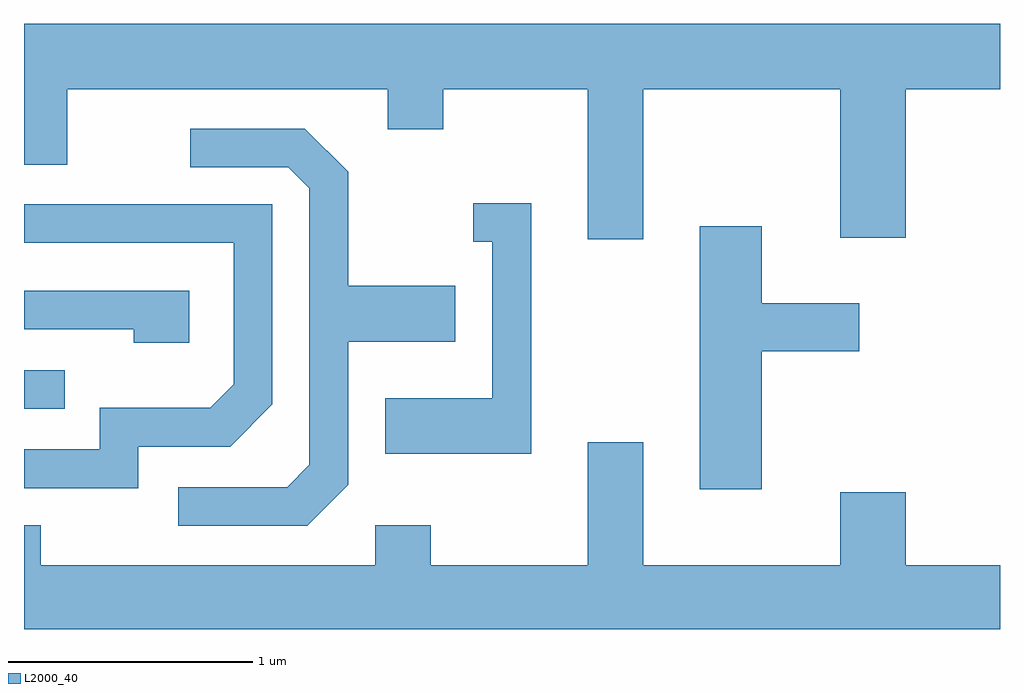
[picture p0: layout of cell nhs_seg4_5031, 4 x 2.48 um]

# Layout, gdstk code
import gdstk
lib = gdstk.Library(unit=1e-6, precision=1e-09)
def R(c, l, rs):  # rectangles x0, y0, x1, y1
    for r in rs: c.add(gdstk.rectangle(r[:2], r[2:], *l))
def P(c, l, *ps):  # polygons
    for p in ps: c.add(gdstk.Polygon(p, *l))
L2000_40 = (2000, 40)

nhs_seg4_5031 = lib.new_cell('nhs_seg4_5031')
R(nhs_seg4_5031, L2000_40, [(331.611,1388.886,331.778,1389.044)])
P(nhs_seg4_5031, L2000_40, [(334.149,1390.196),(334.956,1390.196),(334.956,1389.586),(335.224,1389.586),(335.224,1390.196),(335.611,1390.196),(335.611,1390.464),(331.611,1390.464),(331.611,1389.886),(331.789,1389.886),(331.789,1390.196),(333.101,1390.196),(333.101,1390.031),(333.329,1390.031),(333.329,1390.196),(333.921,1390.196),(333.921,1389.581),(334.149,1389.581)],
  [(332.939,1388.574),(332.939,1389.161),(333.379,1389.161),(333.379,1389.389),(332.939,1389.389),(332.939,1389.857),(332.762,1390.034),(332.293,1390.034),(332.293,1389.876),(332.694,1389.876),(332.781,1389.789),(332.781,1388.657),(332.689,1388.564),(332.243,1388.564),(332.243,1388.406),(332.772,1388.406)],
  [(333.689,1389.729),(333.453,1389.729),(333.453,1389.571),(333.531,1389.571),(333.531,1388.929),(333.091,1388.929),(333.091,1388.701),(333.689,1388.701)],
  [(332.079,1388.731),(332.457,1388.731),(332.629,1388.904),(332.629,1389.724),(331.611,1389.724),(331.611,1389.566),(332.471,1389.566),(332.471,1388.987),(332.374,1388.889),(331.921,1388.889),(331.921,1388.719),(331.611,1388.719),(331.611,1388.561),(332.079,1388.561)],
  [(334.634,1389.121),(335.034,1389.121),(335.034,1389.319),(334.634,1389.319),(334.634,1389.634),(334.381,1389.634),(334.381,1388.556),(334.634,1388.556)],
  [(332.289,1389.369),(331.611,1389.369),(331.611,1389.211),(332.061,1389.211),(332.061,1389.156),(332.289,1389.156)],
  [(335.611,1388.244),(335.224,1388.244),(335.224,1388.544),(334.956,1388.544),(334.956,1388.244),(334.149,1388.244),(334.149,1388.749),(333.921,1388.749),(333.921,1388.244),(333.279,1388.244),(333.279,1388.409),(333.051,1388.409),(333.051,1388.244),(331.679,1388.244),(331.679,1388.409),(331.611,1388.409),(331.611,1387.982),(335.611,1387.982)])

lib.write_gds('nhs_seg4_5031.gds')
